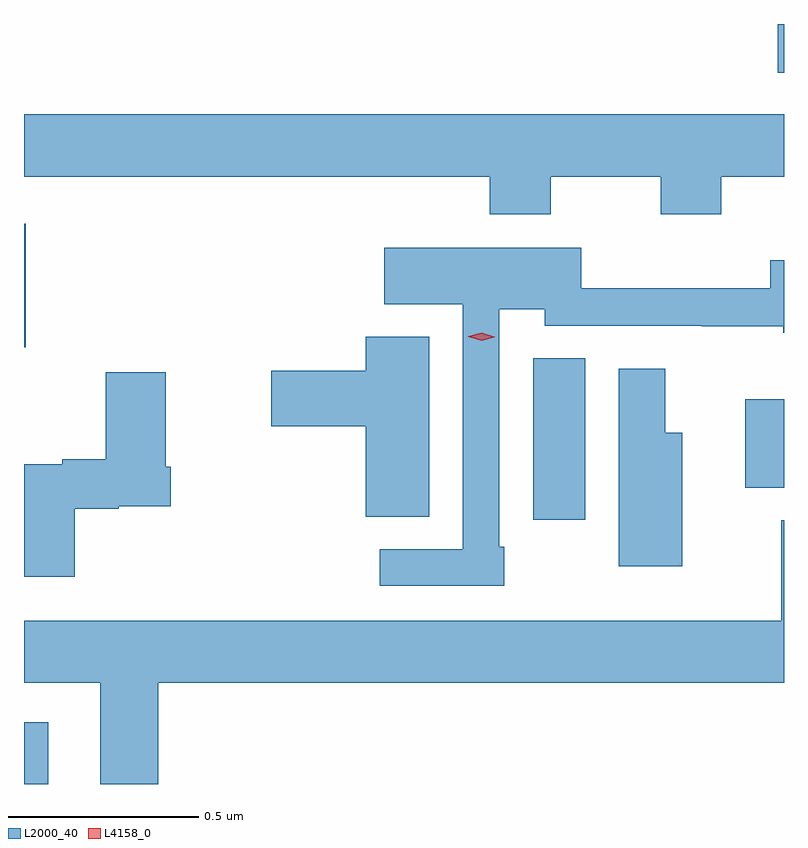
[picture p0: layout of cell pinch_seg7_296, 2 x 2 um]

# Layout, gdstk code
import gdstk
lib = gdstk.Library(unit=1e-6, precision=1e-09)
def R(c, l, rs):  # rectangles x0, y0, x1, y1
    for r in rs: c.add(gdstk.rectangle(r[:2], r[2:], *l))
def P(c, l, *ps):  # polygons
    for p in ps: c.add(gdstk.Polygon(p, *l))
L2000_40 = (2000, 40)
L4158_0 = (4158, 0)

pinch_seg7_296 = lib.new_cell('pinch_seg7_296')
R(pinch_seg7_296, L2000_40, [(579.603,1060.29,579.667,1060.453), (580.943,1060.986,581.08,1061.411), (581.501,1061.069,581.603,1061.302), (579.603,1061.439,579.607,1061.764), (581.587,1062.162,581.603,1062.29)])
P(pinch_seg7_296, L2000_40, [(580.989,1061.888),(581.278,1061.888),(581.278,1061.789),(581.438,1061.789),(581.438,1061.888),(581.603,1061.888),(581.603,1062.052),(579.603,1062.052),(579.603,1061.888),(580.829,1061.888),(580.829,1061.789),(580.989,1061.789)],
  [(580.867,1060.915),(580.854,1060.915),(580.854,1061.54),(580.974,1061.54),(580.974,1061.496),(581.386,1061.496),(581.386,1061.495),(581.601,1061.495),(581.601,1061.477),(581.603,1061.477),(581.603,1061.668),(581.567,1061.668),(581.567,1061.594),(581.07,1061.594),(581.07,1061.701),(580.551,1061.701),(580.551,1061.552),(580.758,1061.552),(580.758,1060.908),(580.539,1060.908),(580.539,1060.812),(580.867,1060.812)],
  [(580.669,1061.467),(580.502,1061.467),(580.502,1061.378),(580.254,1061.378),(580.254,1061.231),(580.502,1061.231),(580.502,1060.993),(580.669,1060.993)],
  [(581.335,1061.215),(581.29,1061.215),(581.29,1061.383),(581.168,1061.383),(581.168,1060.863),(581.335,1060.863)],
  [(579.736,1061.014),(579.852,1061.014),(579.852,1061.021),(579.989,1061.021),(579.989,1061.125),(579.976,1061.125),(579.976,1061.374),(579.818,1061.374),(579.818,1061.144),(579.704,1061.144),(579.704,1061.131),(579.603,1061.131),(579.603,1060.835),(579.736,1060.835)],
  [(579.956,1060.556),(581.603,1060.556),(581.603,1060.984),(581.596,1060.984),(581.596,1060.72),(579.603,1060.72),(579.603,1060.556),(579.803,1060.556),(579.803,1060.29),(579.956,1060.29)])
P(pinch_seg7_296, L4158_0, [(580.807,1061.457),(580.772,1061.467),(580.772,1061.467),(580.772,1061.468),(580.807,1061.477),(580.841,1061.467),(580.842,1061.467),(580.841,1061.466)])

lib.write_gds('pinch_seg7_296.gds')
